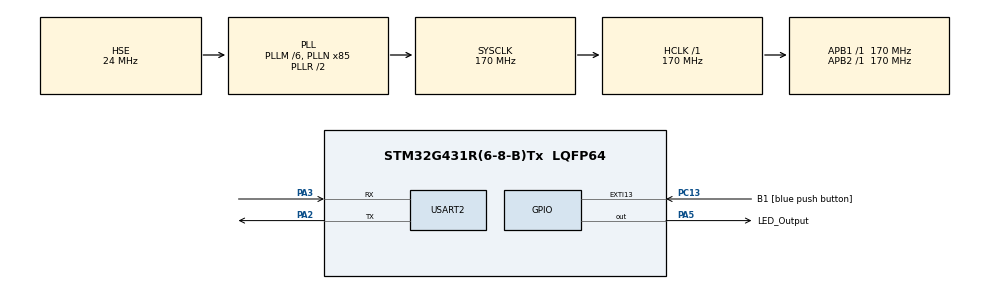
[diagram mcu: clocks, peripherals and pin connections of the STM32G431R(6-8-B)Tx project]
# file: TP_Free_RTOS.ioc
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FREERTOS.Tasks01=defaultTask,0,128,StartDefaultTask,Default,NULL,Dynamic,NULL,NULL
FREERTOS.configTICK_RATE_HZ=1000
FREERTOS.configTOTAL_HEAP_SIZE=10000
FREERTOS.configUSE_NEWLIB_REENTRANT=1
Mcu.Family=STM32G4
Mcu.Name=STM32G431R(6-8-B)Tx
Mcu.Package=LQFP64
NVIC.PriorityGroup=NVIC_PRIORITYGROUP_4
NVIC.TIM1_UP_TIM16_IRQn=true\:15\:0\:false\:false\:true\:false\:false\:true\:true
NVIC.TimeBase=TIM1_UP_TIM16_IRQn
NVIC.TimeBaseIP=TIM1
PA13.GPIO_Label=T_SWDIO
PA13.Mode=Trace_Asynchronous_SW
PA13.Signal=SYS_JTMS-SWDIO
PA14.GPIO_Label=T_SWCLK
PA14.Mode=Trace_Asynchronous_SW
PA14.Signal=SYS_JTCK-SWCLK
PA2.Mode=Asynchronous
PA2.Signal=USART2_TX
PA3.Mode=Asynchronous
PA3.Signal=USART2_RX
PA5.GPIO_Label=LED_Output
PA5.Signal=GPIO_Output
PB3.GPIO_Label=T_SWO
PB3.Mode=Trace_Asynchronous_SW
PB3.Signal=SYS_JTDO-SWO
PC13.GPIO_Label=B1 [blue push button]
PC13.Signal=GPXTI13
PC14-OSC32_IN.GPIO_Label=RCC_OSC32_OUT
PC14-OSC32_IN.Signal=RCC_OSC32_IN
PC15-OSC32_OUT.GPIO_Label=RCC_OSC32_OUT
PC15-OSC32_OUT.Signal=RCC_OSC32_OUT
PF0-OSC_IN.GPIO_Label=RCC_OSC_IN
PF0-OSC_IN.Mode=HSE-External-Oscillator
PF0-OSC_IN.Signal=RCC_OSC_IN
PF1-OSC_OUT.GPIO_Label=RCC_OSC_OUT
PF1-OSC_OUT.Mode=HSE-External-Oscillator
PF1-OSC_OUT.Signal=RCC_OSC_OUT
ProjectManager.HeapSize=0x200
ProjectManager.StackSize=0x400
ProjectManager.TargetToolchain=STM32CubeIDE
RCC.ADC12Freq_Value=170000000
RCC.AHBFreq_Value=170000000
RCC.APB1Freq_Value=170000000
RCC.APB1TimFreq_Value=170000000
RCC.APB2Freq_Value=170000000
RCC.APB2TimFreq_Value=170000000
RCC.CortexFreq_Value=170000000
RCC.EXTERNAL_CLOCK_VALUE=12288000
RCC.HCLKFreq_Value=170000000
RCC.HSE_VALUE=24000000
RCC.HSI48_VALUE=48000000
RCC.HSI_VALUE=16000000
RCC.LSE_VALUE=32768
RCC.PLLM=RCC_PLLM_DIV6
RCC.PLLN=85
RCC.PLLSourceVirtual=RCC_PLLSOURCE_HSE
RCC.RTCClockSelection=RCC_RTCCLKSOURCE_LSE
RCC.SYSCLKFreq_VALUE=170000000
RCC.SYSCLKSource=RCC_SYSCLKSOURCE_PLLCLK
RCC.USBFreq_Value=170000000
RCC.VCOOutputFreq_Value=340000000
USART2.VirtualMode-Asynchronous=VM_ASYNC
VP_FREERTOS_VS_CMSIS_V1.Mode=CMSIS_V1
VP_SYS_VS_DBSignals.Mode=DisableDeadBatterySignals
VP_SYS_VS_tim1.Mode=TIM1
board=NUCLEO-G431RB

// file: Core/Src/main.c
/* USER CODE BEGIN Header */
/**
  ******************************************************************************
  * @file           : main.c
  * @brief          : Main program body
  ******************************************************************************
  * @attention
  *
  * Copyright (c) 2024 STMicroelectronics.
  * All rights reserved.
  *
  * This software is licensed under terms that can be found in the LICENSE file
  * in the root directory of this software component.
  * If no LICENSE file comes with this software, it is provided AS-IS.
  *
  ******************************************************************************
  */
/* USER CODE END Header */
#include "main.h"
#include "cmsis_os.h"

/* USER CODE BEGIN Includes */
#include <stdio.h>
#include <semphr.h>
/* USER CODE END Includes */

/* USER CODE BEGIN PD */
#define STACK_SIZE 1000
#define DELAY_1000 1000
#define DELAY_100 100
/* USER CODE END PD */

UART_HandleTypeDef huart2;

osThreadId defaultTaskHandle;
/* USER CODE BEGIN PV */
SemaphoreHandle_t sem1;
TaskHandle_t h_task_notify = NULL;

/* USER CODE END PV */

void SystemClock_Config(void);
static void MX_GPIO_Init(void);
static void MX_USART2_UART_Init(void);
void StartDefaultTask(void const * argument);

/* USER CODE BEGIN PFP */
void LED_Init(void);
void task_switch_LED(void * pvParameters);
void taskGive(void * pvParameters);
void taskTake(void * pvParameters);
/* USER CODE END PFP */

/* USER CODE BEGIN 0 */
int __io_putchar(int ch) {
	HAL_UART_Transmit(&huart2, (uint8_t *)&ch, 1, HAL_MAX_DELAY);
	return ch;
}

void LED_Init(){
	HAL_GPIO_WritePin(GPIOA, GPIO_PIN_5, GPIO_PIN_RESET);
}

void task_switch_LED(void * pvParameters){
	int count = 0;
	/* Block for 100ms. */
	const TickType_t xDelay = (TickType_t) DELAY_100 / portTICK_PERIOD_MS;
	for(;;){
		HAL_GPIO_TogglePin(GPIOA, GPIO_PIN_5);
		printf("Count : %d\r\n", count);
		count++;
		vTaskDelay(xDelay);
	}
}

void taskGive(void * pvParameters){
	TickType_t xDelay = (TickType_t) DELAY_100 / portTICK_PERIOD_MS; //100ms
	for(;;){
		/*printf("Waiting to give the semaphore, Delay = %u\r\n", (unsigned int)xDelay);
		xSemaphoreGive(sem1);
		printf("Semaphore given\r\n");*/
		printf("Waiting to notify, Delay = %u\r\n", (unsigned int)xDelay);
		xTaskNotifyGive(h_task_notify);
		printf("Notification sent\r\n");
		vTaskDelay(xDelay);
		xDelay += 100;
	}
}

void taskTake(void * pvParameters){
    for(;;){
        /*printf("Waiting to take the semaphore\r\n");
        if (xSemaphoreTake(sem1, ((TickType_t) DELAY_1000)) == pdTRUE){
        	printf("Semaphore taken\r\n");
    	}
    	else {
			printf("Failed to take semaphore, reset software\r\n");
			NVIC_SystemReset(); // Reset the uC
        }*/
    	printf("Waiting to get notified\r\n");
    	if (ulTaskNotifyTake(pdTRUE, (TickType_t) DELAY_1000) == pdTRUE ){
    		printf("Notification received\r\n");
    	}
    	else{
    		printf("Failed to receive the notification, reset software\r\n");
			NVIC_SystemReset(); // Reset the uC
    	}
    }
}

/* USER CODE END 0 */

int main(void)
{

  /* MCU Configuration--------------------------------------------------------*/

  /* Reset of all peripherals, Initializes the Flash interface and the Systick. */
  HAL_Init();

  /* USER CODE BEGIN Init */
  LED_Init();
  /* USER CODE END Init */

  /* Configure the system clock */
  SystemClock_Config();

  /* Initialize all configured peripherals */
  MX_GPIO_Init();
  MX_USART2_UART_Init();
  /* USER CODE BEGIN 2 */
  printf("==============START==============\r\n");

  sem1 = xSemaphoreCreateBinary();
  xTaskCreate(taskGive, "Give the semaphore each 100ms", STACK_SIZE, NULL, 2,&h_task_notify);
  xTaskCreate(taskTake, "Take the semaphore", STACK_SIZE, NULL, 1, &h_task_notify);
  xTaskCreate(task_switch_LED, "Toggle LED", STACK_SIZE, NULL, tskIDLE_PRIORITY, NULL);

  vTaskStartScheduler();	// démarre le sheduler = boucle infinie
  /* USER CODE END 2 */

  /* Create the thread(s) */
  /* definition and creation of defaultTask */
  osThreadDef(defaultTask, StartDefaultTask, osPriorityNormal, 0, 128);
  defaultTaskHandle = osThreadCreate(osThread(defaultTask), NULL);

  /* Start scheduler */
  osKernelStart();

  /* We should never get here as control is now taken by the scheduler */

  /* Infinite loop */
  while (1)
  {

  }
}

void SystemClock_Config(void)
{
  RCC_OscInitTypeDef RCC_OscInitStruct = {0};
  RCC_ClkInitTypeDef RCC_ClkInitStruct = {0};

  /** Configure the main internal regulator output voltage
  */
  HAL_PWREx_ControlVoltageScaling(PWR_REGULATOR_VOLTAGE_SCALE1_BOOST);

  /** Initializes the RCC Oscillators according to the specified parameters
  * in the RCC_OscInitTypeDef structure.
  */
  RCC_OscInitStruct.OscillatorType = RCC_OSCILLATORTYPE_HSE;
  RCC_OscInitStruct.HSEState = RCC_HSE_ON;
  RCC_OscInitStruct.PLL.PLLState = RCC_PLL_ON;
  RCC_OscInitStruct.PLL.PLLSource = RCC_PLLSOURCE_HSE;
  RCC_OscInitStruct.PLL.PLLM = RCC_PLLM_DIV6;
  RCC_OscInitStruct.PLL.PLLN = 85;
  RCC_OscInitStruct.PLL.PLLP = RCC_PLLP_DIV2;
  RCC_OscInitStruct.PLL.PLLQ = RCC_PLLQ_DIV2;
  RCC_OscInitStruct.PLL.PLLR = RCC_PLLR_DIV2;
  if (HAL_RCC_OscConfig(&RCC_OscInitStruct) != HAL_OK)
  {
    Error_Handler();
  }

  /** Initializes the CPU, AHB and APB buses clocks
  */
  RCC_ClkInitStruct.ClockType = RCC_CLOCKTYPE_HCLK|RCC_CLOCKTYPE_SYSCLK
                              |RCC_CLOCKTYPE_PCLK1|RCC_CLOCKTYPE_PCLK2;
  RCC_ClkInitStruct.SYSCLKSource = RCC_SYSCLKSOURCE_PLLCLK;
  RCC_ClkInitStruct.AHBCLKDivider = RCC_SYSCLK_DIV1;
  RCC_ClkInitStruct.APB1CLKDivider = RCC_HCLK_DIV1;
  RCC_ClkInitStruct.APB2CLKDivider = RCC_HCLK_DIV1;

  if (HAL_RCC_ClockConfig(&RCC_ClkInitStruct, FLASH_LATENCY_4) != HAL_OK)
  {
    Error_Handler();
  }
}

static void MX_USART2_UART_Init(void)
{

  huart2.Instance = USART2;
  huart2.Init.BaudRate = 115200;
  huart2.Init.WordLength = UART_WORDLENGTH_8B;
  huart2.Init.StopBits = UART_STOPBITS_1;
  huart2.Init.Parity = UART_PARITY_NONE;
  huart2.Init.Mode = UART_MODE_TX_RX;
  huart2.Init.HwFlowCtl = UART_HWCONTROL_NONE;
  huart2.Init.OverSampling = UART_OVERSAMPLING_16;
  huart2.Init.OneBitSampling = UART_ONE_BIT_SAMPLE_DISABLE;
  huart2.Init.ClockPrescaler = UART_PRESCALER_DIV1;
  huart2.AdvancedInit.AdvFeatureInit = UART_ADVFEATURE_NO_INIT;
  if (HAL_UART_Init(&huart2) != HAL_OK)
  {
    Error_Handler();
  }
  if (HAL_UARTEx_SetTxFifoThreshold(&huart2, UART_TXFIFO_THRESHOLD_1_8) != HAL_OK)
  {
    Error_Handler();
  }
  if (HAL_UARTEx_SetRxFifoThreshold(&huart2, UART_RXFIFO_THRESHOLD_1_8) != HAL_OK)
  {
    Error_Handler();
  }
  if (HAL_UARTEx_DisableFifoMode(&huart2) != HAL_OK)
  {
    Error_Handler();
  }

}

static void MX_GPIO_Init(void)
{
  GPIO_InitTypeDef GPIO_InitStruct = {0};

  /* GPIO Ports Clock Enable */
  __HAL_RCC_GPIOC_CLK_ENABLE();
  __HAL_RCC_GPIOF_CLK_ENABLE();
  __HAL_RCC_GPIOA_CLK_ENABLE();
  __HAL_RCC_GPIOB_CLK_ENABLE();

  /*Configure GPIO pin Output Level */
  HAL_GPIO_WritePin(LED_Output_GPIO_Port, LED_Output_Pin, GPIO_PIN_RESET);

  /*Configure GPIO pin : B1_Pin */
  GPIO_InitStruct.Pin = B1_Pin;
  GPIO_InitStruct.Mode = GPIO_MODE_IT_RISING;
  GPIO_InitStruct.Pull = GPIO_NOPULL;
  HAL_GPIO_Init(B1_GPIO_Port, &GPIO_InitStruct);

  /*Configure GPIO pin : LED_Output_Pin */
  GPIO_InitStruct.Pin = LED_Output_Pin;
  GPIO_InitStruct.Mode = GPIO_MODE_OUTPUT_PP;
  GPIO_InitStruct.Pull = GPIO_NOPULL;
  GPIO_InitStruct.Speed = GPIO_SPEED_FREQ_LOW;
  HAL_GPIO_Init(LED_Output_GPIO_Port, &GPIO_InitStruct);

}

void StartDefaultTask(void const * argument)
{
  for(;;)
  {
    osDelay(1);
  }
}

void HAL_TIM_PeriodElapsedCallback(TIM_HandleTypeDef *htim)
{
  if (htim->Instance == TIM1) {
    HAL_IncTick();
  }
}

void Error_Handler(void)
{
  __disable_irq();
  while (1)
  {
  }
}
